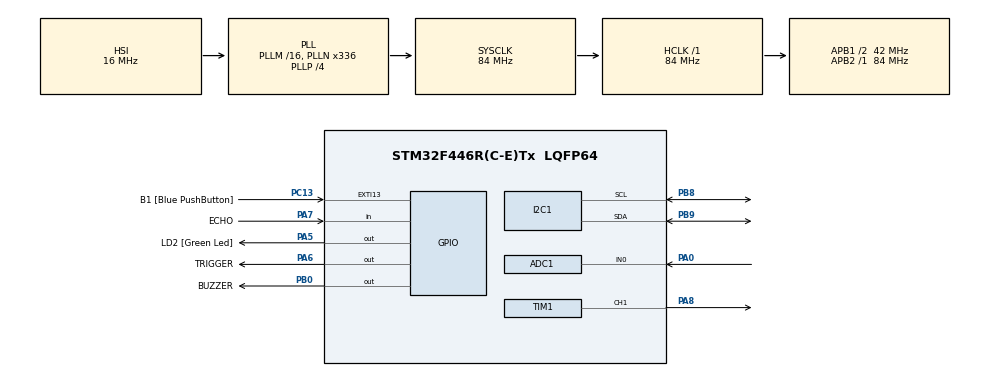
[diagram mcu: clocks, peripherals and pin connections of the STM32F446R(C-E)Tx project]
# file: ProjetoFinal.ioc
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ADC1.Channel-1\#ChannelRegularConversion=ADC_CHANNEL_0
ADC1.ClockPrescaler=ADC_CLOCK_SYNC_PCLK_DIV8
ADC1.ContinuousConvMode=ENABLE
ADC1.EOCSelection=ADC_EOC_SEQ_CONV
ADC1.NbrOfConversion=1
ADC1.NbrOfConversionFlag=1
ADC1.Rank-1\#ChannelRegularConversion=1
ADC1.SamplingTime-1\#ChannelRegularConversion=ADC_SAMPLETIME_3CYCLES
ADC1.master=1
Dma.I2C1_RX.0.Direction=DMA_PERIPH_TO_MEMORY
Dma.I2C1_RX.0.FIFOMode=DMA_FIFOMODE_DISABLE
Dma.I2C1_RX.0.Instance=DMA1_Stream0
Dma.I2C1_RX.0.MemDataAlignment=DMA_MDATAALIGN_BYTE
Dma.I2C1_RX.0.MemInc=DMA_MINC_ENABLE
Dma.I2C1_RX.0.Mode=DMA_NORMAL
Dma.I2C1_RX.0.PeriphDataAlignment=DMA_PDATAALIGN_BYTE
Dma.I2C1_RX.0.PeriphInc=DMA_PINC_DISABLE
Dma.I2C1_RX.0.Priority=DMA_PRIORITY_LOW
Dma.Request0=I2C1_RX
I2C1.I2C_Mode=I2C_Fast
Mcu.Family=STM32F4
Mcu.Name=STM32F446R(C-E)Tx
Mcu.Package=LQFP64
NVIC.DMA1_Stream0_IRQn=true\:0\:0\:false\:false\:true\:false\:true\:true
NVIC.PriorityGroup=NVIC_PRIORITYGROUP_0
NVIC.TIM2_IRQn=true\:0\:0\:false\:false\:true\:true\:true\:true
NVIC.TIM6_DAC_IRQn=true\:0\:0\:false\:false\:true\:true\:true\:true
PA0-WKUP.Signal=ADCx_IN0
PA13.GPIO_Label=TMS
PA13.Mode=Serial_Wire
PA13.Signal=SYS_JTMS-SWDIO
PA14.GPIO_Label=TCK
PA14.Mode=Serial_Wire
PA14.Signal=SYS_JTCK-SWCLK
PA5.GPIO_Label=LD2 [Green Led]
PA5.Signal=GPIO_Output
PA6.GPIO_Label=TRIGGER
PA6.Signal=GPIO_Output
PA7.GPIO_Label=ECHO
PA7.Signal=GPIO_Input
PA8.Signal=S_TIM1_CH1
PB0.GPIO_Label=BUZZER
PB0.GPIO_Speed=GPIO_SPEED_FREQ_LOW
PB0.Signal=GPIO_Output
PB8.GPIO_Pu=GPIO_PULLUP
PB8.Mode=I2C
PB8.Signal=I2C1_SCL
PB9.GPIO_Pu=GPIO_PULLUP
PB9.Mode=I2C
PB9.Signal=I2C1_SDA
PC13.GPIO_Label=B1 [Blue PushButton]
PC13.GPIO_ModeDefaultEXTI=GPIO_MODE_IT_FALLING
PC13.Signal=GPXTI13
PC14-OSC32_IN.Mode=LSE-External-Oscillator
PC14-OSC32_IN.Signal=RCC_OSC32_IN
PC15-OSC32_OUT.Mode=LSE-External-Oscillator
PC15-OSC32_OUT.Signal=RCC_OSC32_OUT
PH0-OSC_IN.Mode=HSE-External-Oscillator
PH0-OSC_IN.Signal=RCC_OSC_IN
PH1-OSC_OUT.Mode=HSE-External-Oscillator
PH1-OSC_OUT.Signal=RCC_OSC_OUT
ProjectManager.HeapSize=0x200
ProjectManager.StackSize=0x400
ProjectManager.TargetToolchain=STM32CubeIDE
RCC.48MHZClocksFreq_Value=84000000
RCC.AHBFreq_Value=84000000
RCC.APB1CLKDivider=RCC_HCLK_DIV2
RCC.APB1Freq_Value=42000000
RCC.APB1TimFreq_Value=84000000
RCC.APB2Freq_Value=84000000
RCC.APB2TimFreq_Value=84000000
RCC.CortexFreq_Value=84000000
RCC.FLatency-AdvancedSettings=FLASH_LATENCY_2
RCC.HCLKFreq_Value=84000000
RCC.HSE_VALUE=8000000
RCC.HSI_VALUE=16000000
RCC.PLLN=336
RCC.PLLP=RCC_PLLP_DIV4
RCC.SYSCLKFreq_VALUE=84000000
RCC.SYSCLKSource=RCC_SYSCLKSOURCE_PLLCLK
RCC.USBFreq_Value=168000000
RCC.VCOOutputFreq_Value=336000000
SH.ADCx_IN0.0=ADC1_IN0,IN0
SH.S_TIM1_CH1.0=TIM1_CH1,PWM Generation1 CH1
TIM1.Channel-PWM\ Generation1\ CH1=TIM_CHANNEL_1
TIM1.Period=20000-1
TIM1.Prescaler=84-1
TIM2.Period=6400-1
TIM2.Prescaler=840-1
TIM3.Prescaler=84-1
TIM6.AutoReloadPreload=TIM_AUTORELOAD_PRELOAD_ENABLE
TIM6.Period=20000-1
TIM6.Prescaler=8400-1
VP_TIM1_VS_ClockSourceINT.Mode=Internal
VP_TIM2_VS_ClockSourceINT.Mode=Internal
VP_TIM3_VS_ClockSourceINT.Mode=Internal
VP_TIM6_VS_ClockSourceINT.Mode=Enable_Timer
board=NUCLEO-F446RE

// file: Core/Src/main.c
/* USER CODE BEGIN Header */
/**
  ******************************************************************************
  * @file           : main.c
  * @brief          : Main program body
  ******************************************************************************
  * @attention
  *
  * Copyright (c) 2024 STMicroelectronics.
  * All rights reserved.
  *
  * This software is licensed under terms that can be found in the LICENSE file
  * in the root directory of this software component.
  * If no LICENSE file comes with this software, it is provided AS-IS.
  *
  ******************************************************************************
  */
/* USER CODE END Header */
#include "main.h"
#include "adc.h"
#include "dma.h"
#include "i2c.h"
#include "tim.h"
#include "gpio.h"

/* USER CODE BEGIN Includes */
#include "ssd1306.h"
#include "bitmap.h"
#include "mpu6050.h"
#include "stdio.h"
#include "bmp280.h"
#include <math.h>

/* USER CODE END Includes */

/* USER CODE BEGIN PV */

MPU6050_t MPU6050;
float temperatura, pressao, altitude; // variáveis para utilizar no sensor de pressão e temperatura BMP280

// os buffers realizam a conversão dos dados para string, para que sejam passados para o display OLED
char Buffer1[32];
char Buffer2[32];
char Buffer3[32];
char Buffer4[32];

// variáveis para controle de feedback do sistema
uint8_t tela=0;
uint8_t flagit=0, flagBmp=0;

/* USER CODE END PV */

void SystemClock_Config(void);
/* USER CODE BEGIN PFP */
void System_Start(void);
void Screens();
void Update_MPU6050();
void Update_BMP_HCSR04();
static void alerta();
static void Pos_Servo();
static float Ler_Nivel();
/* USER CODE END PFP */

/* USER CODE BEGIN 0 */
BMP280_HandleTypedef bmp280;
/* USER CODE END 0 */

int main(void)
{

  /* MCU Configuration--------------------------------------------------------*/

  /* Reset of all peripherals, Initializes the Flash interface and the Systick. */
  HAL_Init();

  /* Configure the system clock */
  SystemClock_Config();

  /* Initialize all configured peripherals */
  MX_GPIO_Init();
  MX_DMA_Init();
  MX_I2C1_Init();
  MX_TIM2_Init();
  MX_ADC1_Init();
  MX_TIM1_Init();
  MX_TIM6_Init();
  MX_TIM3_Init();
  /* USER CODE BEGIN 2 */

  // inicialização do sensor de pressão e temperatura BMP280
  bmp280_init_default_params(&bmp280.params);
  bmp280.addr = BMP280_I2C_ADDRESS_0;
  bmp280.i2c = &hi2c1;
  while(!bmp280_init(&bmp280, &bmp280.params))

  SSD1306_Init (); // inicialização do display OLED
  HAL_TIM_PWM_Start(&htim1, TIM_CHANNEL_1); // inicialização de PWM
  HAL_ADC_Start(&hadc1); // inicialização de ADC
  while (MPU6050_Init(&hi2c1) == 1); //Inicialização do MPU6050
  System_Start(); // inicialização do sistema

  HAL_TIM_Base_Start(&htim3); // inicialização de timer
  HAL_GPIO_WritePin(TRIGGER_GPIO_Port, TRIGGER_Pin, GPIO_PIN_RESET);  // garantia de que o TRIG do HC-SR04 inicie com valor baixo

  HAL_TIM_Base_Start_IT(&htim6); // inicialização de timer em modo de interrupção
  HAL_TIM_Base_Start_IT(&htim2); // inicialização de timer em modo de interrupção

  /* USER CODE END 2 */

  /* Infinite loop */
  /* USER CODE BEGIN WHILE */
  while (1)
  {
	if(flagit==1){
		Update_MPU6050();
	}

	else if(flagBmp==1){
		Update_BMP_HCSR04();
	}

	Pos_Servo();
    /* USER CODE END WHILE */

  }
}

void SystemClock_Config(void)
{
  RCC_OscInitTypeDef RCC_OscInitStruct = {0};
  RCC_ClkInitTypeDef RCC_ClkInitStruct = {0};

  /** Configure the main internal regulator output voltage
  */
  __HAL_RCC_PWR_CLK_ENABLE();
  __HAL_PWR_VOLTAGESCALING_CONFIG(PWR_REGULATOR_VOLTAGE_SCALE3);

  /** Initializes the RCC Oscillators according to the specified parameters
  * in the RCC_OscInitTypeDef structure.
  */
  RCC_OscInitStruct.OscillatorType = RCC_OSCILLATORTYPE_HSI;
  RCC_OscInitStruct.HSIState = RCC_HSI_ON;
  RCC_OscInitStruct.HSICalibrationValue = RCC_HSICALIBRATION_DEFAULT;
  RCC_OscInitStruct.PLL.PLLState = RCC_PLL_ON;
  RCC_OscInitStruct.PLL.PLLSource = RCC_PLLSOURCE_HSI;
  RCC_OscInitStruct.PLL.PLLM = 16;
  RCC_OscInitStruct.PLL.PLLN = 336;
  RCC_OscInitStruct.PLL.PLLP = RCC_PLLP_DIV4;
  RCC_OscInitStruct.PLL.PLLQ = 2;
  RCC_OscInitStruct.PLL.PLLR = 2;
  if (HAL_RCC_OscConfig(&RCC_OscInitStruct) != HAL_OK)
  {
    Error_Handler();
  }

  /** Initializes the CPU, AHB and APB buses clocks
  */
  RCC_ClkInitStruct.ClockType = RCC_CLOCKTYPE_HCLK|RCC_CLOCKTYPE_SYSCLK
                              |RCC_CLOCKTYPE_PCLK1|RCC_CLOCKTYPE_PCLK2;
  RCC_ClkInitStruct.SYSCLKSource = RCC_SYSCLKSOURCE_PLLCLK;
  RCC_ClkInitStruct.AHBCLKDivider = RCC_SYSCLK_DIV1;
  RCC_ClkInitStruct.APB1CLKDivider = RCC_HCLK_DIV2;
  RCC_ClkInitStruct.APB2CLKDivider = RCC_HCLK_DIV1;

  if (HAL_RCC_ClockConfig(&RCC_ClkInitStruct, FLASH_LATENCY_2) != HAL_OK)
  {
    Error_Handler();
  }
}

/* USER CODE BEGIN 4 */

// função para a organização das telas no display OLED
void Screens(){
	if(tela ==0){
		SSD1306_Clear();
		SSD1306_GotoXY (0,0);
		SSD1306_Puts ("Giroscopio:",&Font_7x10, 1);

		SSD1306_GotoXY (0,17);
		SSD1306_Puts ("X:",&Font_7x10, 1);
		SSD1306_DrawCircle(74, 18, 2, SSD1306_COLOR_WHITE);
		SSD1306_GotoXY (77,17);
		SSD1306_Puts ("/s",&Font_7x10, 1);

		SSD1306_GotoXY (0,29);
		SSD1306_Puts ("Y:",&Font_7x10, 1);
		SSD1306_DrawCircle(74, 30, 2, SSD1306_COLOR_WHITE);
		SSD1306_GotoXY (77,29);
		SSD1306_Puts ("/s",&Font_7x10, 1);

		SSD1306_GotoXY (0,41);
		SSD1306_Puts ("Z:",&Font_7x10, 1);
		SSD1306_DrawCircle(74, 42, 2, SSD1306_COLOR_WHITE);
		SSD1306_GotoXY (77,41);
		SSD1306_Puts ("/s",&Font_7x10, 1);

		SSD1306_GotoXY (0,53);
		SSD1306_Puts ("Tmp:",&Font_7x10, 1);
		SSD1306_DrawCircle(46, 54, 2, SSD1306_COLOR_WHITE);
		SSD1306_GotoXY (49,53);
		SSD1306_Puts ("C",&Font_7x10, 1);

		SSD1306_GotoXY (64,53);
		SSD1306_Puts ("P:",&Font_7x10, 1);
		SSD1306_GotoXY (99,53);
		SSD1306_Puts ("kPa",&Font_7x10, 1);
		SSD1306_UpdateScreen();
	}

	if(tela ==1){
		SSD1306_Clear();
		SSD1306_GotoXY (0,0);
		SSD1306_Puts ("Acelerometro:",&Font_7x10, 1);

		SSD1306_GotoXY (0,17);
		SSD1306_Puts ("X:",&Font_7x10, 1);
		SSD1306_GotoXY (65,17);
		SSD1306_Puts ("g",&Font_7x10, 1);

		SSD1306_GotoXY (0,29);
		SSD1306_Puts ("Y:",&Font_7x10, 1);
		SSD1306_GotoXY (65,29);
		SSD1306_Puts ("g",&Font_7x10, 1);

		SSD1306_GotoXY (0,41);
		SSD1306_Puts ("Z:",&Font_7x10, 1);
		SSD1306_GotoXY (65,41);
		SSD1306_Puts ("g",&Font_7x10, 1);

		SSD1306_GotoXY (0,53);
		SSD1306_Puts ("Tmp:",&Font_7x10, 1);
		SSD1306_DrawCircle(46, 54, 2, SSD1306_COLOR_WHITE);
		SSD1306_GotoXY (49,53);
		SSD1306_Puts ("C",&Font_7x10, 1);

		SSD1306_GotoXY (64,53);
		SSD1306_Puts ("P:",&Font_7x10, 1);
		SSD1306_GotoXY (99,53);
		SSD1306_Puts ("kPa",&Font_7x10, 1);
		SSD1306_UpdateScreen();
	}

	if(tela ==2){
		SSD1306_Clear();
		SSD1306_GotoXY (0,0);
		SSD1306_Puts ("Angulo & Altitude:",&Font_7x10, 1);

		SSD1306_GotoXY (0,17);
		SSD1306_Puts ("X:",&Font_7x10, 1);
		SSD1306_GotoXY (65,17);
		SSD1306_DrawCircle(74, 18, 2, SSD1306_COLOR_WHITE);

		SSD1306_GotoXY (0,29);
		SSD1306_Puts ("Y:",&Font_7x10, 1);
		SSD1306_DrawCircle(74, 30, 2, SSD1306_COLOR_WHITE);
		SSD1306_UpdateScreen();

		SSD1306_GotoXY (0,41);
		SSD1306_Puts ("h:",&Font_7x10, 1);
		SSD1306_GotoXY (74,41);
		SSD1306_Puts ("m",&Font_7x10, 1);
		SSD1306_UpdateScreen();

		SSD1306_GotoXY (0,53);
		SSD1306_Puts ("Tanque:",&Font_7x10, 1);
		SSD1306_GotoXY (81,53);
		SSD1306_Puts ("L",&Font_7x10, 1);
	}
}

// função para a inicialização do sistema implementado
void System_Start(void){
	SSD1306_Init ();
	SSD1306_Clear();
	SSD1306_DrawBitmap(0, 0, aviao, 128, 64, SSD1306_COLOR_WHITE);
	SSD1306_UpdateScreen();
	HAL_Delay(2000);
	tela=0;
	Screens();
}

// função de interrupção externa do botão
void HAL_GPIO_EXTI_Callback(uint16_t GPIO_Pin){
	if(GPIO_Pin == B1_Pin){
		tela = (tela+1)%3;
		Screens();
		Update_BMP_HCSR04();
	}
}

// função de callback I2C para o sensor MPU6050 via DMA
void HAL_I2C_MemRxCpltCallback(I2C_HandleTypeDef *hi2c){
	if (hi2c->Instance == I2C1){
	    MPU6050_Process_Data(&MPU6050);
	}
}

// função de callback com timer
void HAL_TIM_PeriodElapsedCallback(TIM_HandleTypeDef *htim)
{
	if (htim->Instance == TIM2){
		flagit=1;
	}

	if (htim->Instance == TIM6){
		flagBmp=1;
	}
}

// Atualiza o sensor BMP280 e o nível do líquido a partir da medição através do HC-SR04
void Update_BMP_HCSR04(){
	double volume = Ler_Nivel(); // variável que recebe o valor da medição atráves do HC-SR04

	// estrutura condicional para evitar leituras negativas (errôneas) do sensor ultrassônico
	if(volume < 0){
		volume = 0;
	}

	bmp280_read_float(&bmp280, &temperatura, &pressao, NULL); // função que faz a leitura das medições do sensor BMP280
	altitude = 44330.0 * (1.0 - pow((pressao / (100*1013.25)), 0.1903)); // cálculo da altitude a partir da leitura do sensor BMP280
	sprintf(Buffer1, "%.0f", temperatura);
	sprintf(Buffer2, "%.0f", pressao/1000);
	sprintf(Buffer3, "%.1f", altitude);
	sprintf(Buffer4, "%.2f", volume);

	// atualiza a altitude e o nível do líquido na tela 3
	if(tela==2){
		SSD1306_GotoXY (21,41);
		SSD1306_Puts (Buffer3,&Font_7x10, 1);
		SSD1306_GotoXY (49,53);
		SSD1306_Puts (Buffer4,&Font_7x10, 1);
	}

	// atualiza temperatura e pressão nas telas
	else{
		SSD1306_GotoXY (28,53);
		SSD1306_Puts (Buffer1,&Font_7x10, 1);
		SSD1306_GotoXY (78,53);
		SSD1306_Puts (Buffer2,&Font_7x10, 1);
	}
	SSD1306_UpdateScreen();
	flagBmp=0;
}

// função que atualiza as medidas em cada tela e emite alertas sonoros através do buzzer
void Update_MPU6050(){
	MPU6050_Read_All(&hi2c1);

	if(temperatura > 27){
		alerta();
	}

	else{
		HAL_GPIO_WritePin(GPIOB, BUZZER_Pin, 0);
		HAL_GPIO_WritePin(GPIOA, LD2_Pin, 0);
	}

	if(tela ==0){
		flagit=0;
		sprintf(Buffer1, "%.2f", MPU6050.Gx);
		sprintf(Buffer2, "%.2f", MPU6050.Gy);
		sprintf(Buffer3, "%.2f", MPU6050.Gz);
		SSD1306_GotoXY (21,17);
		SSD1306_Puts (Buffer1,&Font_7x10, 1);
		SSD1306_GotoXY (21,29);
		SSD1306_Puts (Buffer2,&Font_7x10, 1);
		SSD1306_GotoXY (21,41);
		SSD1306_Puts (Buffer3,&Font_7x10, 1);
		SSD1306_UpdateScreen();
	}

	else if(tela ==1){
		flagit=0;
		sprintf(Buffer1, "%.2f", MPU6050.Ax);
		sprintf(Buffer2, "%.2f", MPU6050.Ay);
		sprintf(Buffer3, "%.2f", MPU6050.Az);
		SSD1306_GotoXY (21,17);
		SSD1306_Puts (Buffer1,&Font_7x10, 1);
		SSD1306_GotoXY (21,29);
		SSD1306_Puts (Buffer2,&Font_7x10, 1);
		SSD1306_GotoXY (21,41);
		SSD1306_Puts (Buffer3,&Font_7x10, 1);
		SSD1306_UpdateScreen();
	}

	else if(tela ==2){
		flagit=0;
		sprintf(Buffer1, "%.2f", MPU6050.KalmanAngleX);
		sprintf(Buffer2, "%.2f", MPU6050.KalmanAngleY);
		SSD1306_GotoXY (21,17);
		SSD1306_Puts (Buffer1,&Font_7x10, 1);
		SSD1306_GotoXY (21,29);
		SSD1306_Puts (Buffer2,&Font_7x10, 1);
		SSD1306_UpdateScreen();
	}
}

// função que gerencia o controle do servo-motor a partir da leitura com ADC de um potenciômetro
static void Pos_Servo(void){
    static float arr_suavizado =  460;  // Valor inicial

    uint32_t leitura = HAL_ADC_GetValue(&hadc1);
    float arr;

    // Calcula o valor arr diretamente com base na leitura do ADC
    arr = (1900.0 / 3.3) * (leitura * 3.3 / 4095.0) + 460;

    // Aplica suavização exponencial (filtro de baixa frequência)
    arr_suavizado = arr_suavizado * 0.85 + arr * 0.1;  // Fator de suavização (0.9 e 0.1)

    // Atualiza o PWM com o valor suavizado
    __HAL_TIM_SET_COMPARE(&htim1, TIM_CHANNEL_1, (uint16_t)arr_suavizado);
}

// função que emite alertas sonoros (através do buzzer) e, além disso, luminosos, utilizando o LED da F446RE
static void alerta(void){
	static uint8_t contador = 0; // contador para controle dos ticks do buzzer
	HAL_GPIO_TogglePin(GPIOA, LD2_Pin);

	if(contador == 7){
		HAL_GPIO_WritePin(GPIOB, BUZZER_Pin, 1);
	}

	else if(contador == 15){
		HAL_GPIO_WritePin(GPIOB, BUZZER_Pin, 0);
		contador = 0;
	}

	contador++;
}

// função que implementa a leitura do nível de líquido que foi consumido e retorna o volume restante no tanque
static float Ler_Nivel(){
	static uint32_t tmili;
	static uint32_t Valor1 = 0;
	static uint32_t Valor2 = 0;
	static uint16_t Distancia  = 0;
	const double capacidade = 28.4; // altura em cm
	const double raio = 3.75; // diametro em cm
	double volume;
	double restante;
	const double PI = 3.141592;

	HAL_GPIO_WritePin(TRIGGER_GPIO_Port, TRIGGER_Pin, GPIO_PIN_SET);  // TRIG com valor alto para enviar o pulso sonoro
	__HAL_TIM_SET_COUNTER(&htim3, 0);
	while (__HAL_TIM_GET_COUNTER (&htim3) < 10);  // espera de 10 milissegundos de acordo com o datasheet
	HAL_GPIO_WritePin(TRIGGER_GPIO_Port, TRIGGER_Pin, GPIO_PIN_RESET);  // TRIG com valor baixo para parar de enviar o pulso sonoro

	tmili = HAL_GetTick(); // evita loop infinito
	while (!(HAL_GPIO_ReadPin (ECHO_GPIO_Port, ECHO_Pin)) && tmili + 10 >  HAL_GetTick()); // espera até o ECHO tem valor alto
	Valor1 = __HAL_TIM_GET_COUNTER (&htim3); // recebe o instante de tempo em que o ECHO recebe valor alto

	tmili = HAL_GetTick(); // evita loop infinito

	while ((HAL_GPIO_ReadPin (ECHO_GPIO_Port, ECHO_Pin)) && tmili + 50 > HAL_GetTick()); // espera até o ECHO ter valor baixo
	Valor2 = __HAL_TIM_GET_COUNTER (&htim3); // recebe o instante de tempo em que o ECHO recebeu valor baixo

	Distancia = (Valor2-Valor1)* 0.0343/2; // cálculo da distância

	restante = capacidade - Distancia; // cálculo do nível de líquido restante
	volume = PI * raio * raio * restante/1000; // cálculo do volume de líquido restante
	return(volume);
}

/* USER CODE END 4 */

void Error_Handler(void)
{
  __disable_irq();
  while (1)
  {
  }
}
